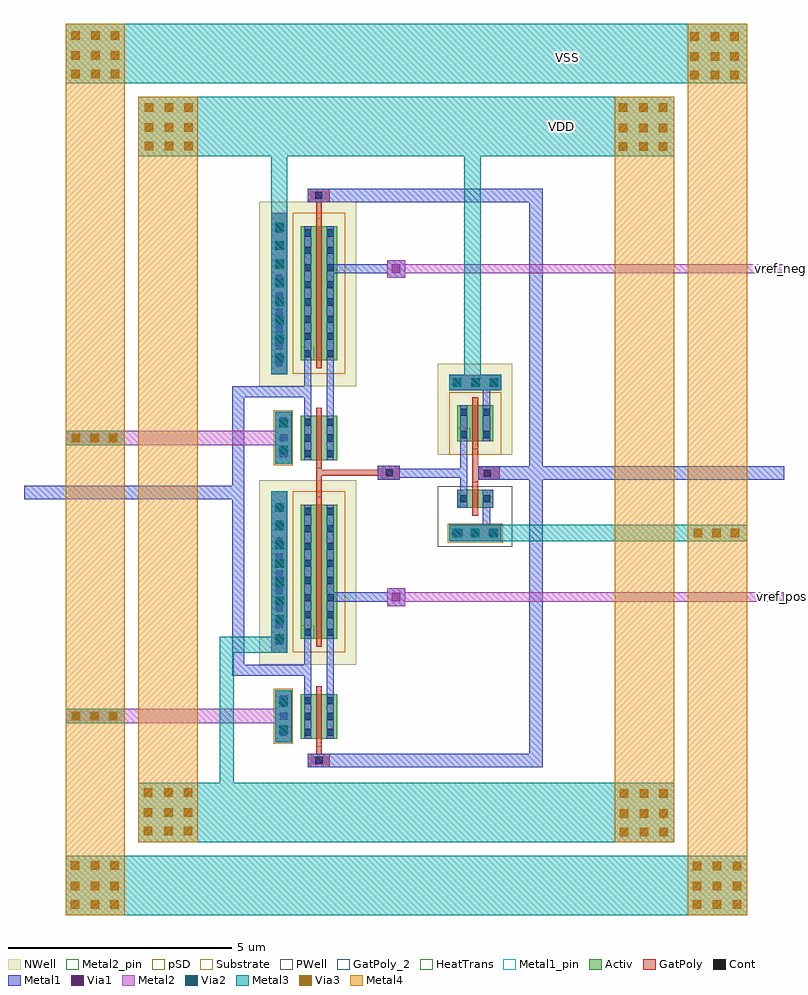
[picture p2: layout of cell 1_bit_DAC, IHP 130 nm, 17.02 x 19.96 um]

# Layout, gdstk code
from math import pi, radians
import gdstk
lib = gdstk.Library(unit=1e-6, precision=1e-09)
def R(c, l, rs):  # rectangles x0, y0, x1, y1
    for r in rs: c.add(gdstk.rectangle(r[:2], r[2:], *l))
def A(c, l, x, y, w, h, nx, ny, dx, dy):  # array of equal rectangles
    R(c, l, [(x+i*dx, y+j*dy, x+i*dx+w, y+j*dy+h) for i in range(nx) for j in range(ny)])
def P(c, l, *ps):  # polygons
    for p in ps: c.add(gdstk.Polygon(p, *l))
Activ = (1, 0)
GatPoly = (5, 0)
GatPoly_2 = (5, 2)
Cont = (6, 0)
Metal1 = (8, 0)
Metal1_pin = (8, 2)
Metal2 = (10, 0)
Metal2_pin = (10, 2)
pSD = (14, 0)
Via1 = (19, 0)
Via2 = (29, 0)
Metal3 = (30, 0)
NWell = (31, 0)
Substrate = (40, 0)
PWell = (46, 0)
Via3 = (49, 0)
Metal4 = (50, 0)
HeatTrans = (51, 0)

pmos_2_1 = lib.new_cell('pmos$2$1')
R(pmos_2_1, Activ, [(0,0,0.3,0.3), (0,0,0.81,3), (0.51,0,0.81,0.3)])
R(pmos_2_1, GatPoly, [(0.34,-0.18,0.47,3.18), (0.34,-0.18,0.47,3.18)])
A(pmos_2_1, Cont, 0.07, 0.07, 0.16, 0.16, 1, 7, 0, 0.385)
A(pmos_2_1, Cont, 0.58, 0.07, 0.16, 0.16, 1, 7, 0, 0.385)
R(pmos_2_1, Cont, [(0.07,2.77,0.23,2.93), (0.58,2.77,0.74,2.93)])
R(pmos_2_1, Metal1, [(0.07,0,0.23,3), (0.07,0,0.23,3), (0.58,0,0.74,3), (0.58,0,0.74,3)])
R(pmos_2_1, pSD, [(-0.18,-0.3,0.99,3.3)])
R(pmos_2_1, NWell, [(-0.31,-0.31,1.12,3.31)])
R(pmos_2_1, Substrate, [(0.51,0,0.81,0.3)])
R(pmos_2_1, HeatTrans, [(0.34,-0.18,0.47,3.18)])
pmos_2_1.add(gdstk.Label('pmos', (0.405,1.5), layer=63, texttype=0))
pmos_2_1.add(gdstk.Label('pmos', (0.405,1.5), layer=51, texttype=0))

pmos = lib.new_cell('pmos')
R(pmos, Activ, [(0.355,-1.565,0.655,-1.265), (0.355,-1.565,1.165,-0.765), (0.865,-1.565,1.165,-1.265)])
R(pmos, GatPoly, [(0.695,-1.745,0.825,-0.585), (0.695,-1.745,0.825,-0.585)])
R(pmos, Cont, [(0.425,-1.495,0.585,-1.335), (0.935,-1.495,1.095,-1.335), (0.425,-0.995,0.585,-0.835), (0.935,-0.995,1.095,-0.835)])
R(pmos, Metal1, [(0.425,-1.565,0.585,-0.765), (0.425,-1.565,0.585,-0.765), (0.935,-1.565,1.095,-0.765), (0.935,-1.565,1.095,-0.765)])
R(pmos, pSD, [(0.175,-1.865,1.345,-0.465)])
R(pmos, NWell, [(0.045,-1.875,1.475,-0.455)])
R(pmos, Substrate, [(0.865,-1.565,1.165,-1.265)])
R(pmos, HeatTrans, [(0.695,-1.745,0.825,-0.585)])
pmos.add(gdstk.Label('pmos', (0.76,-1.165), layer=63, texttype=0))
pmos.add(gdstk.Label('pmos', (0.76,-1.165), layer=51, texttype=0))

nmos_1_3 = lib.new_cell('nmos$1$3')
R(nmos_1_3, Activ, [(0.355,-1.565,0.655,-1.265), (0.355,-1.565,1.165,-1.165), (0.865,-1.565,1.165,-1.265)])
R(nmos_1_3, GatPoly, [(0.695,-1.745,0.825,-0.985)])
R(nmos_1_3, GatPoly_2, [(0.695,-1.745,0.825,-0.985)])
R(nmos_1_3, Cont, [(0.425,-1.445,0.585,-1.285), (0.935,-1.445,1.095,-1.285)])
R(nmos_1_3, Metal1, [(0.425,-1.565,0.585,-1.165), (0.935,-1.565,1.095,-1.165)])
R(nmos_1_3, Metal1_pin, [(0.425,-1.565,0.585,-1.165), (0.935,-1.565,1.095,-1.165)])
R(nmos_1_3, HeatTrans, [(0.695,-1.745,0.825,-0.985)])
nmos_1_3.add(gdstk.Label('nmos', (0.76,-1.365), layer=63, texttype=0))
nmos_1_3.add(gdstk.Label('nmos', (0.76,-1.365), layer=51, texttype=0))

inverter = lib.new_cell('inverter')
R(inverter, Activ, [(-0.265,-3.49,0.9,-3.125), (-0.265,-0.115,0.905,0.24)])
R(inverter, GatPoly, [(0.255,-2.92,0.385,-0.27), (-0.235,-2.115,0.34,-1.81)])
R(inverter, Cont, [(-0.145,-3.385,0.015,-3.225), (0.24,-3.385,0.4,-3.225), (0.595,-3.385,0.755,-3.225), (-0.035,-2.045,0.125,-1.885), (-0.185,-0.015,-0.025,0.145), (0.23,-0.015,0.39,0.145), (0.635,-0.015,0.795,0.145)])
R(inverter, Metal1, [(-0.265,-3.49,0.9,-3.125), (-0.015,-3.33,0.145,-2.565), (-0.085,-2.74,0.145,-2.34), (0.495,-2.74,0.725,-2.34), (0.495,-2.74,0.655,-0.45), (-0.235,-2.115,0.255,-1.81), (0.495,-2.065,1.105,-1.865), (-0.015,-0.54,0.145,0.24), (-0.265,-0.115,0.905,0.24)])
R(inverter, pSD, [(-0.295,-3.525,0.93,-3.095)])
R(inverter, NWell, [(-0.515,-1.56,1.16,0.485)])
R(inverter, PWell, [(-0.515,-3.615,1.155,-2.265)])
inverter.add(gdstk.Reference(pmos, (-0.44,0.315)))
inverter.add(gdstk.Reference(nmos_1_3, (-0.44,-1.175)))

nmos_2_2 = lib.new_cell('nmos$2$2')
R(nmos_2_2, Activ, [(0,0,0.3,0.3), (0,0,0.81,1), (0.51,0,0.81,0.3)])
R(nmos_2_2, GatPoly, [(0.34,-0.18,0.47,1.18)])
R(nmos_2_2, GatPoly_2, [(0.34,-0.18,0.47,1.18)])
A(nmos_2_2, Cont, 0.07, 0.07, 0.16, 0.16, 1, 3, 0, 0.35)
A(nmos_2_2, Cont, 0.58, 0.07, 0.16, 0.16, 1, 3, 0, 0.35)
R(nmos_2_2, Metal1, [(0.07,0,0.23,1), (0.58,0,0.74,1)])
R(nmos_2_2, Metal1_pin, [(0.07,0,0.23,1), (0.58,0,0.74,1)])
R(nmos_2_2, HeatTrans, [(0.34,-0.18,0.47,1.18)])
nmos_2_2.add(gdstk.Label('nmos', (0.405,0.5), layer=63, texttype=0))
nmos_2_2.add(gdstk.Label('nmos', (0.405,0.5), layer=51, texttype=0))

c_1_bit_dac = lib.new_cell('1_bit_DAC')
R(c_1_bit_dac, Activ, [(-2.27,-9.845,-1.905,-8.68), (-2.27,-9.845,-1.905,-8.68), (-2.355,-7.84,-2.005,-4.23), (-2.355,-7.84,-2.005,-4.23), (-2.27,-3.61,-1.905,-2.445), (-2.355,-1.605,-2.005,2.005)])
R(c_1_bit_dac, GatPoly, [(-1.54,-10.405,-1.05,-10.1), (-1.355,-10.23,-1.225,-9.925), (-1.355,-5.17,-1.225,-4.35), (-1.355,-4.445,-1.225,-3.63), (0.03,-3.965,0.52,-3.66), (-1.355,-3.88,0.285,-3.745), (-1.355,1.065,-1.225,1.885), (-1.355,1.84,-1.225,2.25), (-1.545,2.245,-1.055,2.55)])
A(c_1_bit_dac, Cont, -2.26, -1.425, 0.16, 0.16, 1, 3, 0, 0.37)
R(c_1_bit_dac, Cont, [(-1.37,-10.33,-1.21,-10.17), (-2.165,-9.7,-2.005,-9.54), (-2.165,-9.7,-2.005,-9.54), (-2.165,-9.345,-2.005,-9.185), (-2.165,-9.345,-2.005,-9.185), (-2.165,-8.96,-2.005,-8.8), (-2.165,-8.96,-2.005,-8.8), (-2.26,-7.66,-2.1,-7.5), (-2.26,-7.66,-2.1,-7.5), (-2.26,-7.29,-2.1,-7.13), (-2.26,-7.29,-2.1,-7.13), (-2.26,-6.92,-2.1,-6.76), (-2.26,-6.92,-2.1,-6.76), (-2.26,-6.535,-2.1,-6.375), (-2.26,-6.535,-2.1,-6.375), (-2.26,-6.165,-2.1,-6.005), (-2.26,-6.165,-2.1,-6.005), (-2.26,-5.78,-2.1,-5.62), (-2.26,-5.78,-2.1,-5.62), (-2.26,-5.425,-2.1,-5.265), (-2.26,-5.425,-2.1,-5.265), (-2.26,-5.04,-2.1,-4.88), (-2.26,-5.04,-2.1,-4.88), (-2.26,-4.67,-2.1,-4.51), (-2.26,-4.67,-2.1,-4.51), (0.205,-3.895,0.365,-3.735), (-2.165,-3.465,-2.005,-3.305), (-2.165,-3.11,-2.005,-2.95), (-2.165,-2.725,-2.005,-2.565), (-2.26,-0.3,-2.1,-0.14), (-2.26,0.07,-2.1,0.23), (-2.26,0.455,-2.1,0.615), (-2.26,0.81,-2.1,0.97), (-2.26,1.195,-2.1,1.355), (-2.26,1.565,-2.1,1.725), (-1.375,2.32,-1.215,2.48)])
R(c_1_bit_dac, Metal1, [(-1.54,-10.405,-1.05,-10.1), (-2.27,-9.845,-1.905,-8.68), (-2.27,-9.845,-1.905,-8.68), (-1.625,-8.84,-1.465,-7.46), (-1.115,-8.84,-0.955,-7.46), (-3.23,-8.355,-1.465,-8.11), (-3.23,-8.355,-2.965,-1.875), (-2.355,-7.84,-2.005,-4.23), (-2.355,-7.84,-2.005,-4.23), (0.24,-6.8,0.635,-6.4), (-1.115,-6.7,0.555,-6.49), (-7.895,-4.41,-2.965,-4.1), (2.62,-3.97,3.72,-3.665), (3.42,-3.97,9.12,-3.665), (0.03,-3.965,0.52,-3.66), (0.395,-3.92,1.43,-3.72), (-2.27,-3.61,-1.905,-2.445), (-1.625,-2.605,-1.465,-1.225), (-1.115,-2.605,-0.955,-1.225), (-3.23,-2.12,-1.465,-1.875), (-2.355,-1.605,-2.005,2.005), (0.24,0.55,0.635,0.95), (-1.115,0.65,0.555,0.86), (-1.545,2.245,-1.055,2.55)])
P(c_1_bit_dac, Metal1, [(-1.54,-10.405),(-1.54,-10.1),(3.42,-10.1),(3.42,-3.665),(3.72,-3.665),(3.72,-10.405)],
  [(3.42,-3.97),(3.42,2.245),(-1.545,2.245),(-1.545,2.55),(3.72,2.55),(3.72,-3.97)])
R(c_1_bit_dac, Metal2, [(-2.27,-9.845,-1.905,-8.68), (-2.27,-9.845,-1.905,-8.68), (-6.965,-9.425,-1.905,-9.095), (-2.355,-7.84,-2.005,-4.23), (0.24,-6.8,0.635,-6.4), (0.24,-6.7,9.115,-6.49), (1.625,-5.345,2.79,-4.98), (-2.27,-3.61,-1.905,-2.445), (-2.27,-3.61,-1.905,-2.445), (-6.965,-3.2,-1.905,-2.87), (1.62,-1.97,2.79,-1.615), (-2.355,-1.605,-2.005,2.005), (0.24,0.55,0.635,0.95), (0.24,0.65,9.115,0.86)])
R(c_1_bit_dac, Metal2_pin, [(8.935,-6.685,9.11,-6.5), (8.93,0.66,9.105,0.845)])
R(c_1_bit_dac, pSD, [(-2.305,-9.875,-1.875,-8.65), (-2.305,-3.64,-1.875,-2.415)])
A(c_1_bit_dac, Via1, -2.275, -7.195, 0.19, 0.19, 1, 3, 0, 0.415)
A(c_1_bit_dac, Via1, -2.275, -5.945, 0.19, 0.19, 1, 3, 0, 0.42)
A(c_1_bit_dac, Via1, 1.695, -5.255, 0.19, 0.19, 3, 1, 0.415, 0)
A(c_1_bit_dac, Via1, 1.705, -1.885, 0.19, 0.19, 3, 1, 0.415, 0)
A(c_1_bit_dac, Via1, -2.275, -0.91, 0.19, 0.19, 1, 3, 0, 0.415)
A(c_1_bit_dac, Via1, -2.275, 0.34, 0.19, 0.19, 1, 3, 0, 0.42)
R(c_1_bit_dac, Via1, [(-2.185,-9.66,-1.995,-9.47), (-2.185,-9.66,-1.995,-9.47), (-2.185,-9.05,-1.995,-8.86), (-2.185,-9.05,-1.995,-8.86), (-2.275,-7.615,-2.085,-7.425), (0.335,-6.69,0.525,-6.5), (-2.275,-4.69,-2.085,-4.5), (-2.18,-3.4,-1.99,-3.21), (-2.18,-3.4,-1.99,-3.21), (-2.18,-2.79,-1.99,-2.6), (-2.18,-2.79,-1.99,-2.6), (-2.275,-1.33,-2.085,-1.14), (0.335,0.66,0.525,0.85), (-2.275,1.595,-2.085,1.785)])
A(c_1_bit_dac, Via2, -6.83, -9.355, 0.19, 0.19, 3, 2, 0.415, 6.225)
A(c_1_bit_dac, Via2, -2.275, -7.195, 0.19, 0.19, 1, 3, 0, 0.415)
A(c_1_bit_dac, Via2, -2.275, -5.945, 0.19, 0.19, 1, 3, 0, 0.42)
A(c_1_bit_dac, Via2, 1.695, -5.255, 0.19, 0.19, 3, 1, 0.415, 0)
A(c_1_bit_dac, Via2, 1.705, -1.885, 0.19, 0.19, 3, 1, 0.415, 0)
A(c_1_bit_dac, Via2, -2.275, -0.91, 0.19, 0.19, 1, 3, 0, 0.415)
A(c_1_bit_dac, Via2, -2.275, 0.34, 0.19, 0.19, 1, 3, 0, 0.42)
R(c_1_bit_dac, Via2, [(-2.185,-9.66,-1.995,-9.47), (-2.185,-9.66,-1.995,-9.47), (-2.185,-9.05,-1.995,-8.86), (-2.185,-9.05,-1.995,-8.86), (-2.275,-7.615,-2.085,-7.425), (-2.275,-4.69,-2.085,-4.5), (-2.18,-3.4,-1.99,-3.21), (-2.18,-3.4,-1.99,-3.21), (-2.18,-2.79,-1.99,-2.6), (-2.18,-2.79,-1.99,-2.6), (-2.275,-1.33,-2.085,-1.14), (-2.275,1.595,-2.085,1.785)])
R(c_1_bit_dac, Metal3, [(-6.965,-13.72,8.295,-12.39), (-5.335,-12.08,6.665,-10.75), (-3.51,-12.08,-3.2,-7.49), (-2.27,-9.845,-1.905,-8.68), (-6.965,-9.425,-5.635,-9.095), (-3.51,-7.84,-2.005,-7.49), (-2.355,-7.84,-2.005,-4.23), (1.625,-5.345,2.79,-4.98), (1.625,-5.345,8.295,-4.98), (-2.27,-3.61,-1.905,-2.445), (-6.965,-3.2,-5.635,-2.87), (1.62,-1.97,2.79,-1.615), (1.965,-1.97,2.335,4.605), (-2.355,-1.605,-2.005,2.005), (-2.355,1.785,-2.005,4.605), (-5.335,3.275,6.665,4.605), (-6.965,4.91,8.295,6.24)])
R(c_1_bit_dac, NWell, [(-2.63,-8.11,-0.455,-3.985), (-2.63,-1.875,-0.455,2.25)])
A(c_1_bit_dac, Via3, -6.83, -9.355, 0.19, 0.19, 3, 2, 0.415, 6.225)
A(c_1_bit_dac, Via3, 7.105, -5.255, 0.19, 0.19, 3, 1, 0.41, 0)
R(c_1_bit_dac, Via3, [(7.08,-13.575,7.27,-13.385), (7.53,-13.575,7.72,-13.385), (7.97,-13.575,8.16,-13.385), (-6.85,-13.57,-6.66,-13.38), (-6.4,-13.57,-6.21,-13.38), (-5.96,-13.57,-5.77,-13.38), (7.08,-13.16,7.27,-12.97), (7.53,-13.16,7.72,-12.97), (7.97,-13.16,8.16,-12.97), (-6.85,-13.155,-6.66,-12.965), (-6.4,-13.155,-6.21,-12.965), (-5.96,-13.155,-5.77,-12.965), (7.08,-12.71,7.27,-12.52), (7.53,-12.71,7.72,-12.52), (7.97,-12.71,8.16,-12.52), (-6.85,-12.705,-6.66,-12.515), (-6.4,-12.705,-6.21,-12.515), (-5.96,-12.705,-5.77,-12.515), (5.44,-11.955,5.63,-11.765), (5.89,-11.955,6.08,-11.765), (6.33,-11.955,6.52,-11.765), (-5.21,-11.93,-5.02,-11.74), (-4.76,-11.93,-4.57,-11.74), (-4.32,-11.93,-4.13,-11.74), (5.44,-11.54,5.63,-11.35), (5.89,-11.54,6.08,-11.35), (6.33,-11.54,6.52,-11.35), (-5.21,-11.515,-5.02,-11.325), (-4.76,-11.515,-4.57,-11.325), (-4.32,-11.515,-4.13,-11.325), (5.44,-11.09,5.63,-10.9), (5.89,-11.09,6.08,-10.9), (6.33,-11.09,6.52,-10.9), (-5.21,-11.065,-5.02,-10.875), (-4.76,-11.065,-4.57,-10.875), (-4.32,-11.065,-4.13,-10.875), (5.425,3.4,5.615,3.59), (5.875,3.4,6.065,3.59), (6.315,3.4,6.505,3.59), (-5.195,3.405,-5.005,3.595), (-4.745,3.405,-4.555,3.595), (-4.305,3.405,-4.115,3.595), (5.425,3.815,5.615,4.005), (5.875,3.815,6.065,4.005), (6.315,3.815,6.505,4.005), (-5.195,3.82,-5.005,4.01), (-4.745,3.82,-4.555,4.01), (-4.305,3.82,-4.115,4.01), (5.425,4.265,5.615,4.455), (5.875,4.265,6.065,4.455), (6.315,4.265,6.505,4.455), (-5.195,4.27,-5.005,4.46), (-4.745,4.27,-4.555,4.46), (-4.305,4.27,-4.115,4.46), (7.025,4.995,7.215,5.185), (7.475,4.995,7.665,5.185), (7.915,4.995,8.105,5.185), (-6.84,5.015,-6.65,5.205), (-6.39,5.015,-6.2,5.205), (-5.95,5.015,-5.76,5.205), (7.025,5.41,7.215,5.6), (7.475,5.41,7.665,5.6), (7.915,5.41,8.105,5.6), (-6.84,5.43,-6.65,5.62), (-6.39,5.43,-6.2,5.62), (-5.95,5.43,-5.76,5.62), (7.025,5.86,7.215,6.05), (7.475,5.86,7.665,6.05), (7.915,5.86,8.105,6.05), (-6.84,5.88,-6.65,6.07), (-6.39,5.88,-6.2,6.07), (-5.95,5.88,-5.76,6.07)])
R(c_1_bit_dac, Metal4, [(-6.965,-13.72,-5.635,6.24), (6.965,-13.72,8.295,6.24), (-5.335,-12.08,-4.005,4.605), (5.335,-12.08,6.665,4.605)])
c_1_bit_dac.add(gdstk.Reference(pmos_2_1, (-0.885,-1.295), rotation=pi, x_reflection=True))
c_1_bit_dac.add(gdstk.Reference(inverter, (2.525,-1.855), rotation=pi, x_reflection=True))
c_1_bit_dac.add(gdstk.Reference(nmos_2_2, (-0.885,-3.535), rotation=pi, x_reflection=True))
c_1_bit_dac.add(gdstk.Reference(pmos_2_1, (-0.885,-7.53), rotation=pi, x_reflection=True))
c_1_bit_dac.add(gdstk.Reference(nmos_2_2, (-0.885,-9.77), rotation=pi, x_reflection=True))
c_1_bit_dac.add(gdstk.Label('vref_pos', (9.07,-6.59), layer=10, texttype=25))
c_1_bit_dac.add(gdstk.Label('vref_neg', (9.065,0.755), layer=10, texttype=25))
c_1_bit_dac.add(gdstk.Label('VDD', (4.145,3.93), layer=30, texttype=25))
c_1_bit_dac.add(gdstk.Label('VSS', (4.28,5.48), layer=30, texttype=25))

lib.write_gds('1_bit_DAC.gds')
